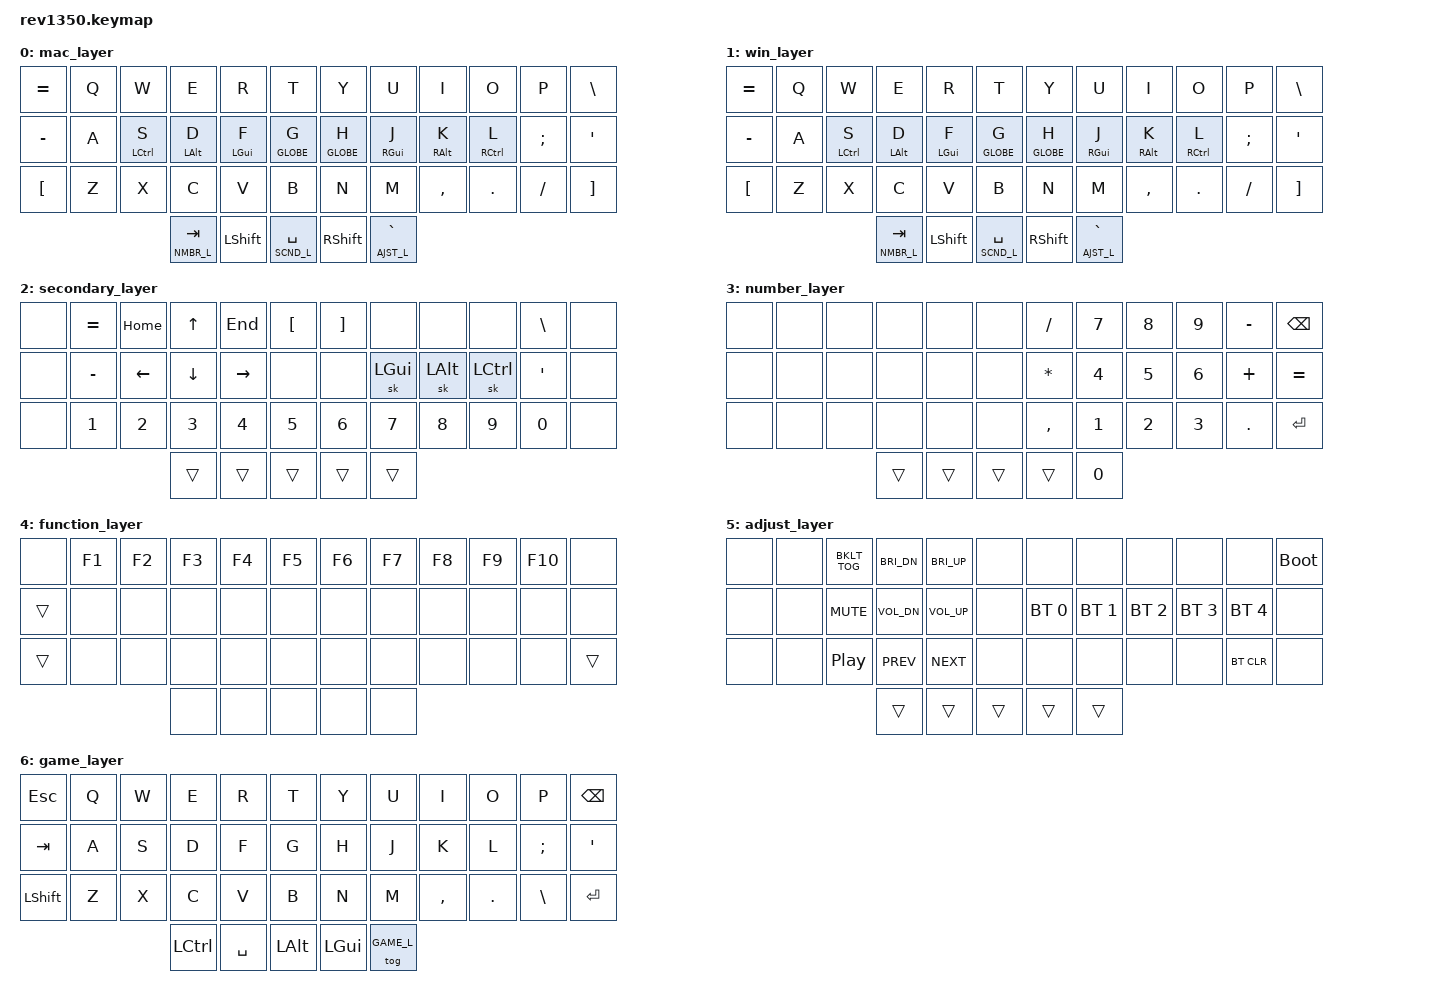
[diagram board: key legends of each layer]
/*
 * Copyright (c) 2020 The ZMK Contributors
 *
 * SPDX-License-Identifier: MIT
 */

#include <behaviors.dtsi>
#include <dt-bindings/zmk/keys.h>
#include <dt-bindings/zmk/bt.h>

#define MAC_L 0
#define WIN_L  1
#define SCND_L 2
#define NMBR_L 3
#define FUNC_L 4
#define AJST_L 5
#define GAME_L 6

/ {
        // Todo: New Behaviors
        //       double tap space to do period, space, one-shot shift
        behaviors {
                hm: homerow_mods {
                        compatible = "zmk,behavior-hold-tap";
                        label = "HOMEROW_MODS";
                        #binding-cells = <2>;
                        tapping-term-ms = <200>;
                        quick-tap-ms = <200>;
                        require-prior-idle-ms = <150>;
                        flavor = "tap-preferred";
                        bindings = <&kp>, <&kp>;
                };

                bspc_del: backspace_delete {
                        compatible = "zmk,behavior-mod-morph";
                        label = "BACKSPACE_DELETE";
                        #binding-cells = <0>;
                        bindings = <&kp BACKSPACE>, <&kp DELETE>;
                        mods = <(MOD_LSFT|MOD_RSFT)>;
                        keep-mods = <(MOD_RSFT)>;
                };

                td_num_layer: tap_dance_num_layer {
                        compatible = "zmk,behavior-tap-dance";
                        #binding-cells = <0>;
                        tapping-term-ms = <200>;
                        bindings = <&mo NMBR_L>, <&tog NMBR_L>;
                };
        };

        combos {
                compatible = "zmk,combos";

                // Left Hand Combos
                combo_escape {
                        timeout-ms = <50>;
                        key-positions = <14 15>;
                        bindings = <&kp ESC>;
                        layers = <MAC_L WIN_L SCND_L FUNC_L>;
                };

                combo_tab {
                        timeout-ms = <50>;
                        key-positions = <15 16>;
                        bindings = <&kp TAB>;
                        layers = <MAC_L WIN_L SCND_L FUNC_L>;
                };

                // Right Hand Combos
                combo_backspace {
                        timeout-ms = <50>;
                        key-positions = <19 20>;
                        bindings = <&bspc_del>;
                        layers = <MAC_L WIN_L SCND_L FUNC_L>;
                };

                combo_enter {
                        timeout-ms = <50>;
                        key-positions = <20 21>;
                        bindings = <&kp ENTER>;
                        layers = <MAC_L WIN_L SCND_L FUNC_L>;
                };

                combo_delete_word_mac{
                        timeout-ms = <50>;
                        key-positions = <19 20 21>;
                        bindings = <&kp LA(BACKSPACE)>;
                        layers = <MAC_L>;
                };

                combo_delete_word_win{
                        timeout-ms = <50>;
                        key-positions = <19 20 21>;
                        bindings = <&kp LC(BACKSPACE)>;
                        layers = <WIN_L>;
                };

                combo_capsword{
                        timeout-ms = <50>;
                        key-positions = <7 8 9>;
                        bindings = <&caps_word>;
                        layers = <MAC_L WIN_L SCND_L FUNC_L>;
                };

                combo_left_desktop_mac {
                        timeout-ms = <50>;
                        key-positions = <31 32>;
                        bindings = <&kp LC(LEFT_ARROW)>;
                        layers = <MAC_L>;
                };

                combo_right_desktop_mac {
                        timeout-ms = <50>;
                        key-positions = <32 33>;
                        bindings = <&kp LC(RIGHT_ARROW)>;
                        layers = <MAC_L>;
                };

                combo_left_desktop_win {
                        timeout-ms = <50>;
                        key-positions = <31 32>;
                        bindings = <&kp LC(LG(LEFT_ARROW))>;
                        layers = <WIN_L>;
                };

                combo_right_desktop_win {
                        timeout-ms = <50>;
                        key-positions = <32 33>;
                        bindings = <&kp LC(LG(RIGHT_ARROW))>;
                        layers = <WIN_L>;
                };

                combo_layout_change {
                        timeout-ms = <50>;
                        key-positions = <36 40>;
                        bindings = <&tog WIN_L>;
                        layers = <MAC_L WIN_L>;
                };

                combo_game_layer {
                        timeout-ms = <50>;
                        key-positions = <11 35>;
                        bindings = <&tog GAME_L>;
                };
        };

        keymap {
                compatible = "zmk,keymap";

                mac_layer {
                        bindings = <
                                &kp EQUAL &kp Q &kp W       &kp E      &kp R      &kp T         &kp Y       &kp U      &kp I      &kp O       &kp P    &kp BSLH
                                &kp MINUS &kp A &hm LCTRL S &hm LALT D &hm LGUI F &hm GLOBE G   &hm GLOBE H &hm RGUI J &hm RALT K &hm RCTRL L &kp SEMI &kp SQT
                                &kp LBKT  &kp Z &kp X       &kp C      &kp V      &kp B         &kp N       &kp M      &kp COMMA  &kp DOT     &kp FSLH &kp RBKT
                                                         &lt NMBR_L TAB &kp LSHFT &lt SCND_L SPACE &kp RSHFT &lt AJST_L GRAVE
                        >;
                };

                win_layer {
                        bindings = <
                                &kp EQUAL &kp Q &kp W       &kp E      &kp R      &kp T         &kp Y       &kp U      &kp I      &kp O       &kp P    &kp BSLH
                                &kp MINUS &kp A &hm LCTRL S &hm LALT D &hm LGUI F &hm GLOBE G   &hm GLOBE H &hm RGUI J &hm RALT K &hm RCTRL L &kp SEMI &kp SQT
                                &kp LBKT  &kp Z &kp X       &kp C      &kp V      &kp B         &kp N       &kp M      &kp COMMA  &kp DOT     &kp FSLH &kp RBKT
                                                         &lt NMBR_L TAB &kp LSHFT &lt SCND_L SPACE &kp RSHFT &lt AJST_L GRAVE
                        >;
                };

                secondary_layer {
                        bindings = <
                                &none &kp EQUAL &kp HOME &kp UP   &kp END   &kp LBKT     &kp RBKT &none    &none    &none     &kp BSLH &none
                                &none &kp MINUS &kp LEFT &kp DOWN &kp RIGHT &none        &none    &sk LGUI &sk LALT &sk LCTRL &kp SQT  &none
                                &none &kp N1    &kp N2   &kp N3   &kp N4    &kp N5       &kp N6   &kp N7   &kp N8   &kp N9    &kp N0   &none
                                                                    &trans &trans &trans &trans &trans
                        >;
                };

                number_layer {
                        bindings = <
                                &none &none &none &none &none &none     &kp FSLH  &kp N7 &kp N8 &kp N9 &kp MINUS &kp BACKSPACE
                                &none &none &none &none &none &none     &kp ASTRK &kp N4 &kp N5 &kp N6 &kp PLUS  &kp EQUAL
                                &none &none &none &none &none &none     &kp COMMA &kp N1 &kp N2 &kp N3 &kp DOT   &kp ENTER
                                                    &trans &trans &trans &trans &kp N0
                        >;
                };

                function_layer {
                        bindings = <
                                &none  &kp F1 &kp F2 &kp F3 &kp F4 &kp F5     &kp F6 &kp F7 &kp F8 &kp F9 &kp F10 &none
                                &trans &none  &none  &none  &none  &none      &none  &none  &none  &none  &none   &none
                                &trans &none  &none  &none  &none  &none      &none  &none  &none  &none  &none   &trans
                                                      &none    &none    &none    &none    &none
                        >;
                };

                adjust_layer {
                        bindings = <
                                &none &none &kp C_BKLT_TOG   &kp C_BRI_DN &kp C_BRI_UP &none     &none        &none        &none        &none        &none        &bootloader
                                &none &none &kp C_MUTE       &kp C_VOL_DN &kp C_VOL_UP &none     &bt BT_SEL 0 &bt BT_SEL 1 &bt BT_SEL 2 &bt BT_SEL 3 &bt BT_SEL 4 &none
                                &none &none &kp C_PLAY_PAUSE &kp C_PREV   &kp C_NEXT   &none     &none        &none        &none        &none        &bt BT_CLR   &none
                                                                        &trans    &trans    &trans    &trans    &trans
                        >;
                };

                game_layer {
                        bindings = <
                                &kp ESC    &kp Q &kp W &kp E &kp R &kp T   &kp Y &kp U &kp I     &kp O      &kp P         &kp BACKSPACE
                                &kp TAB    &kp A &kp S &kp D &kp F &kp G   &kp H &kp J &kp K     &kp L      &kp SEMI      &kp SQT
                                &kp LSHIFT &kp Z &kp X &kp C &kp V &kp B   &kp N &kp M &kp COMMA &kp PERIOD &kp BACKSLASH &kp ENTER
                                                  &kp LCTRL &kp SPACE &kp LALT &kp LGUI &tog GAME_L
                        >;
                };
        };
};
